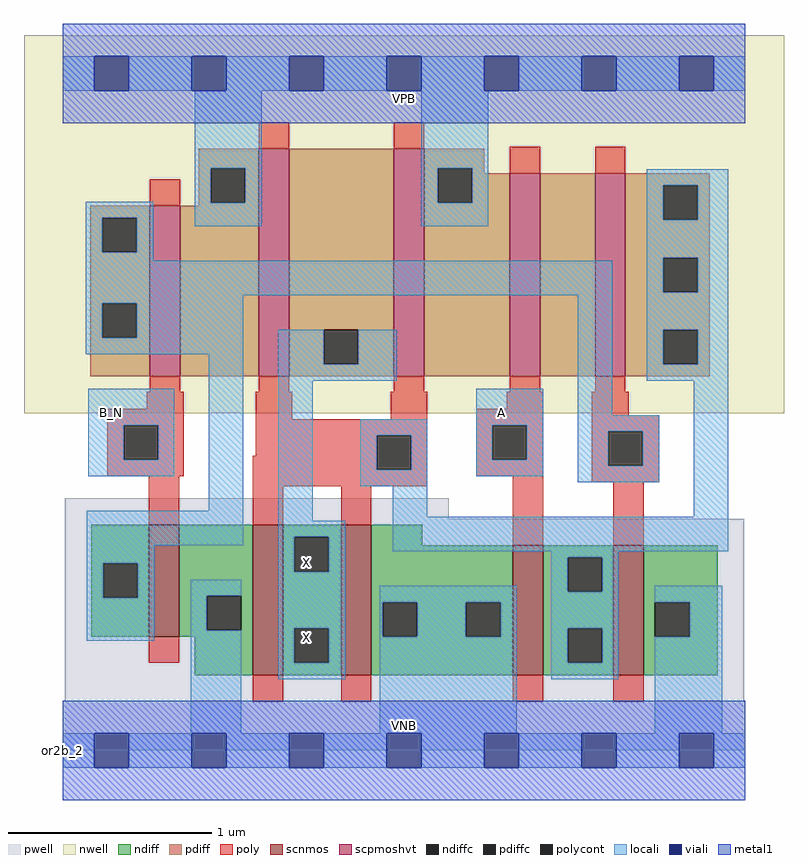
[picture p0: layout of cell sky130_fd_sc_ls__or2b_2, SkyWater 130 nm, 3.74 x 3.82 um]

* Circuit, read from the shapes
.subckt sky130_fd_sc_ls__or2b_2 A B_N VGND VNB VPB VPWR X
XM1 VGND B_N n1 VNB sky130_fd_pr__nfet_01v8 w=0.55 l=0.15
XM2 X n2 VGND VNB sky130_fd_pr__nfet_01v8 w=0.74 l=0.15 m=2
XM3 n2 A VGND VNB sky130_fd_pr__nfet_01v8 w=0.64 l=0.15
XM4 VGND n1 n2 VNB sky130_fd_pr__nfet_01v8 w=0.64 l=0.15
XM5 VPWR B_N n1 VPB sky130_fd_pr__pfet_01v8_hvt w=0.84 l=0.15
XM6 X n2 VPWR VPB sky130_fd_pr__pfet_01v8_hvt w=1.12 l=0.15 m=2
XM7 n3 A VPWR VPB sky130_fd_pr__pfet_01v8_hvt w=1 l=0.15
XM8 n2 n1 n3 VPB sky130_fd_pr__pfet_01v8_hvt w=1 l=0.15
.ends

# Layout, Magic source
magic
tech sky130A
magscale 1 2
<< nwell >>
rect -38 332 710 704
<< pwell >>
rect 2 228 380 248
rect 2 49 671 228
rect 0 0 672 49
<< scnmos >>
rect 85 112 115 222
rect 187 74 217 222
rect 274 74 304 222
rect 443 74 473 202
rect 542 74 572 202
<< scpmoshvt >>
rect 86 368 116 536
rect 193 368 223 592
rect 326 368 356 592
rect 440 368 470 568
rect 524 368 554 568
<< ndiff >>
rect 28 184 85 222
rect 28 150 40 184
rect 74 150 85 184
rect 28 112 85 150
rect 115 152 187 222
rect 115 118 142 152
rect 176 118 187 152
rect 115 112 187 118
rect 130 74 187 112
rect 217 210 274 222
rect 217 176 228 210
rect 262 176 274 210
rect 217 120 274 176
rect 217 86 228 120
rect 262 86 274 120
rect 217 74 274 86
rect 304 202 354 222
rect 304 146 443 202
rect 304 112 315 146
rect 349 112 397 146
rect 431 112 443 146
rect 304 74 443 112
rect 473 190 542 202
rect 473 156 497 190
rect 531 156 542 190
rect 473 120 542 156
rect 473 86 497 120
rect 531 86 542 120
rect 473 74 542 86
rect 572 146 645 202
rect 572 112 583 146
rect 617 112 645 146
rect 572 74 645 112
<< pdiff >>
rect 134 573 193 592
rect 134 539 146 573
rect 180 539 193 573
rect 134 536 193 539
rect 27 524 86 536
rect 27 490 39 524
rect 73 490 86 524
rect 27 440 86 490
rect 27 406 39 440
rect 73 406 86 440
rect 27 368 86 406
rect 116 368 193 536
rect 223 414 326 592
rect 223 380 257 414
rect 291 380 326 414
rect 223 368 326 380
rect 356 573 415 592
rect 356 539 369 573
rect 403 568 415 573
rect 403 539 440 568
rect 356 368 440 539
rect 470 368 524 568
rect 554 556 637 568
rect 554 522 591 556
rect 625 522 637 556
rect 554 485 637 522
rect 554 451 591 485
rect 625 451 637 485
rect 554 414 637 451
rect 554 380 591 414
rect 625 380 637 414
rect 554 368 637 380
<< ndiffc >>
rect 40 150 74 184
rect 142 118 176 152
rect 228 176 262 210
rect 228 86 262 120
rect 315 112 349 146
rect 397 112 431 146
rect 497 156 531 190
rect 497 86 531 120
rect 583 112 617 146
<< pdiffc >>
rect 146 539 180 573
rect 39 490 73 524
rect 39 406 73 440
rect 257 380 291 414
rect 369 539 403 573
rect 591 522 625 556
rect 591 451 625 485
rect 591 380 625 414
<< poly >>
rect 193 592 223 618
rect 326 592 356 618
rect 86 536 116 562
rect 440 568 470 594
rect 524 568 554 594
rect 86 353 116 368
rect 193 353 223 368
rect 326 353 356 368
rect 440 353 470 368
rect 524 353 554 368
rect 83 336 119 353
rect 44 320 119 336
rect 44 286 60 320
rect 94 286 119 320
rect 190 326 226 353
rect 323 326 359 353
rect 437 336 473 353
rect 190 310 359 326
rect 190 290 309 310
rect 44 270 119 286
rect 187 276 309 290
rect 343 276 359 310
rect 85 222 115 270
rect 187 260 359 276
rect 407 320 473 336
rect 407 286 423 320
rect 457 286 473 320
rect 407 270 473 286
rect 187 222 217 260
rect 274 222 304 260
rect 85 86 115 112
rect 443 202 473 270
rect 521 330 557 353
rect 521 314 587 330
rect 521 280 537 314
rect 571 280 587 314
rect 521 264 587 280
rect 542 202 572 264
rect 187 48 217 74
rect 274 48 304 74
rect 443 48 473 74
rect 542 48 572 74
<< polycont >>
rect 60 286 94 320
rect 309 276 343 310
rect 423 286 457 320
rect 537 280 571 314
<< locali >>
rect 0 649 31 683
rect 65 649 127 683
rect 161 649 223 683
rect 257 649 319 683
rect 353 649 415 683
rect 449 649 511 683
rect 545 649 607 683
rect 641 649 672 683
rect 130 573 196 649
rect 23 524 89 540
rect 23 490 39 524
rect 73 490 89 524
rect 130 539 146 573
rect 180 539 196 573
rect 130 516 196 539
rect 353 573 419 649
rect 353 539 369 573
rect 403 539 419 573
rect 353 516 419 539
rect 575 556 655 572
rect 575 522 591 556
rect 625 522 655 556
rect 23 482 89 490
rect 575 485 655 522
rect 23 448 541 482
rect 23 440 178 448
rect 23 406 39 440
rect 73 406 178 440
rect 23 390 178 406
rect 25 320 110 356
rect 25 286 60 320
rect 94 286 110 320
rect 25 270 110 286
rect 144 236 178 390
rect 24 202 178 236
rect 212 380 257 414
rect 291 380 329 414
rect 212 364 329 380
rect 212 226 246 364
rect 293 310 359 326
rect 293 276 309 310
rect 343 276 359 310
rect 293 260 359 276
rect 407 320 473 356
rect 407 286 423 320
rect 457 286 473 320
rect 407 270 473 286
rect 507 330 541 448
rect 575 451 591 485
rect 625 451 655 485
rect 575 414 655 451
rect 575 380 591 414
rect 625 380 655 414
rect 575 364 655 380
rect 507 314 587 330
rect 507 280 537 314
rect 571 280 587 314
rect 507 264 587 280
rect 325 230 359 260
rect 621 230 655 364
rect 212 210 278 226
rect 24 184 90 202
rect 24 150 40 184
rect 74 150 90 184
rect 212 176 228 210
rect 262 176 278 210
rect 325 196 655 230
rect 24 108 90 150
rect 126 152 176 168
rect 126 118 142 152
rect 126 17 176 118
rect 212 120 278 176
rect 481 190 547 196
rect 212 86 228 120
rect 262 86 278 120
rect 212 70 278 86
rect 312 146 447 162
rect 312 112 315 146
rect 349 112 397 146
rect 431 112 447 146
rect 312 17 447 112
rect 481 156 497 190
rect 531 156 547 190
rect 481 120 547 156
rect 481 86 497 120
rect 531 86 547 120
rect 481 70 547 86
rect 583 146 649 162
rect 617 112 649 146
rect 583 17 649 112
rect 0 -17 31 17
rect 65 -17 127 17
rect 161 -17 223 17
rect 257 -17 319 17
rect 353 -17 415 17
rect 449 -17 511 17
rect 545 -17 607 17
rect 641 -17 672 17
<< viali >>
rect 31 649 65 683
rect 127 649 161 683
rect 223 649 257 683
rect 319 649 353 683
rect 415 649 449 683
rect 511 649 545 683
rect 607 649 641 683
rect 31 -17 65 17
rect 127 -17 161 17
rect 223 -17 257 17
rect 319 -17 353 17
rect 415 -17 449 17
rect 511 -17 545 17
rect 607 -17 641 17
<< metal1 >>
rect 0 683 672 715
rect 0 649 31 683
rect 65 649 127 683
rect 161 649 223 683
rect 257 649 319 683
rect 353 649 415 683
rect 449 649 511 683
rect 545 649 607 683
rect 641 649 672 683
rect 0 617 672 649
rect 0 17 672 49
rect 0 -17 31 17
rect 65 -17 127 17
rect 161 -17 223 17
rect 257 -17 319 17
rect 353 -17 415 17
rect 449 -17 511 17
rect 545 -17 607 17
rect 641 -17 672 17
rect 0 -49 672 -17
<< labels >>
rlabel comment s 0 0 0 0 4 or2b_2
flabel pwell s 0 0 672 49 0 FreeSans 200 0 0 0 VNB
port 4 nsew ground bidirectional
flabel nwell s 0 617 672 666 0 FreeSans 200 0 0 0 VPB
port 5 nsew power bidirectional
flabel metal1 s 0 617 672 666 0 FreeSans 340 0 0 0 VPWR
port 6 nsew power bidirectional abutment
flabel metal1 s 0 0 672 49 0 FreeSans 340 0 0 0 VGND
port 3 nsew ground bidirectional abutment
flabel locali s 223 94 257 128 0 FreeSans 340 0 0 0 X
port 7 nsew signal output
flabel locali s 223 168 257 202 0 FreeSans 340 0 0 0 X
port 7 nsew signal output
flabel locali s 31 316 65 350 0 FreeSans 340 0 0 0 B_N
port 2 nsew signal input
flabel locali s 415 316 449 350 0 FreeSans 340 0 0 0 A
port 1 nsew signal input
<< properties >>
string LEFsite unit
string LEFclass CORE
string FIXED_BBOX 0 0 672 666
string GDS_FILE $PDKPATH/libs.ref/sky130_fd_sc_ls/gds/sky130_fd_sc_ls.gds
string LEFsymmetry X Y
string GDS_END 1852484
string GDS_START 1846830
<< end >>
